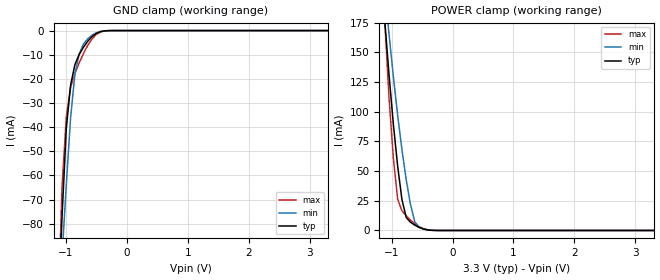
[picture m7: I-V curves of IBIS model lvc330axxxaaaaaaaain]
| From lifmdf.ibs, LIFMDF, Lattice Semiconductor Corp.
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|   Model lvc330axxxaaaaaaaain
[Model] lvc330axxxaaaaaaaain
Model_type Input
Polarity   Non-Inverting
Vinl =  0.800V
Vinh =  2.000V
C_comp   5.000pF   4.000pF   5.500pF
[Temperature Range]   25.000   0.125k   -40.000
[Voltage Range]   3.300V   3.140V   3.470V
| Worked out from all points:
|   GND clamp passes 1 mA (typ) near -0.48 V on its own axis
|   POWER clamp passes 1 mA (typ) near -0.46 V on its own axis
[GND_clamp]
|Voltage   I(typ)   I(min)   I(max)
-3.3V     -1.71A     -1.258A    -2.349A
-1.13V    -119.4mA   -124.8mA   -120.4mA
-1.06V    -76.91mA   -93.41mA   -64.42mA
-990mV    -40.37mA   -63.68mA   -35.65mA
-920mV    -22.62mA   -36.09mA   -23.42mA
-850mV    -14.16mA   -18.16mA   -17.82mA
-780mV    -9.927mA   -9.751mA   -13.44mA
-710mV    -6.91mA    -5.613mA   -9.526mA
-640mV    -4.44mA    -3.389mA   -6.157mA
-500mV    -1.202mA   -949.6uA   -1.652mA
-290mV    -17.25uA   -20.48uA   -19.31uA
3.3V      0A         0A         0A
[POWER_clamp]
|Voltage   I(typ)   I(min)   I(max)
-3.3V     2.101A     1.758A     3.757A
-1.11V    175.8mA    202.2mA    175mA
-1.04V    130.5mA    164.8mA    110.8mA
-970mV    89.45mA    129.5mA    60.76mA
-900mV    54.3mA     97.15mA    26.5mA
-830mV    26.3mA     68.21mA    16.62mA
-760mV    11.08mA    42.94mA    12.4mA
-690mV    7.003mA    21.99mA    8.787mA
-620mV    4.527mA    7.423mA    5.723mA
-550mV    2.623mA    2.943mA    3.295mA
-270mV    19.59uA    47.33uA    15.48uA
3.3V      0A         0A         0A
